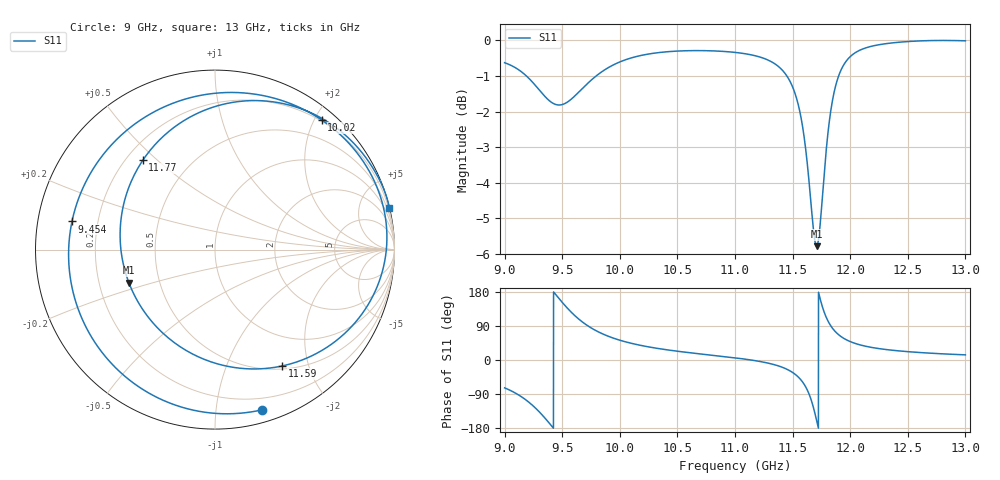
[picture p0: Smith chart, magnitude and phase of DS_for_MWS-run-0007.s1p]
! TOUCHSTONE file generated by CST DESIGN STUDIO
! Date and time: Tue Feb  4 16:41:40 2025
! Project name: C:\Work\MatlabApps\UnitCellOptimizationMatlab\CST\unitcell.cst
! Tree item: Tasks\Sweep1\SPara1\S-Parameters
! Header version: 2024
! Port assignment regex: !\s*Touchstone port\s*([0-9]+)\s*=\s*(CST MWS port|CST DES external port|CST DES block port)\s*(.+)\s* \(\"(.*)\"\)(\s*mode\s*([0-9]+))?.*
! Touchstone port assignment:
! Touchstone port 1 = CST DES external port 1 ("")
# GHz S MA R 50
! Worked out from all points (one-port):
!   4001 points, 9 GHz to 13 GHz, reference 50 ohm
!   lowest |S11| = -5.8 dB at 11.71 GHz (marker M1), VSWR 3.11, Z = 16.6 - j8.31 ohm
!   |S11| at or under -10 dB: nowhere
!   S11 on the Smith chart (normalised r, x): 9 GHz: 0.10, -1.33; 9.454 GHz: 0.10, +0.10; 10.02 GHz: 0.18, +2.11; 11.59 GHz: 0.54, -1.60; 11.77 GHz: 0.27, +0.45; 13 GHz: 0.04, +8.40
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9  0.9305 -73.5
9.138  0.9056 -95.4
9.24  0.8746 -119.0
9.36  0.831 -156.6
9.454  0.812 168.9
9.5  0.8126 152.1
9.592  0.8306 122.1
9.69  0.8607 97.0
9.837  0.9021 70.8
10  0.9328 52.2
10.019  0.9355 50.5
10.227  0.9557 35.9
10.5  0.9662 23.2
11  0.9621 5.7
11.332  0.9302 -11.6
11.5  0.8604 -32.9
11.591  0.749 -59.9
11.654  0.6047 -98.8
11.708  0.5139 -158.9
11.738  0.5487 162.9
11.771  0.6399 129.0
11.807  0.7415 103.0
11.849  0.8283 82.6
11.917  0.9063 62.6
12  0.949 48.6
12.183  0.9812 33.3
12.5  0.9964 22.0
13  0.9989 13.6
